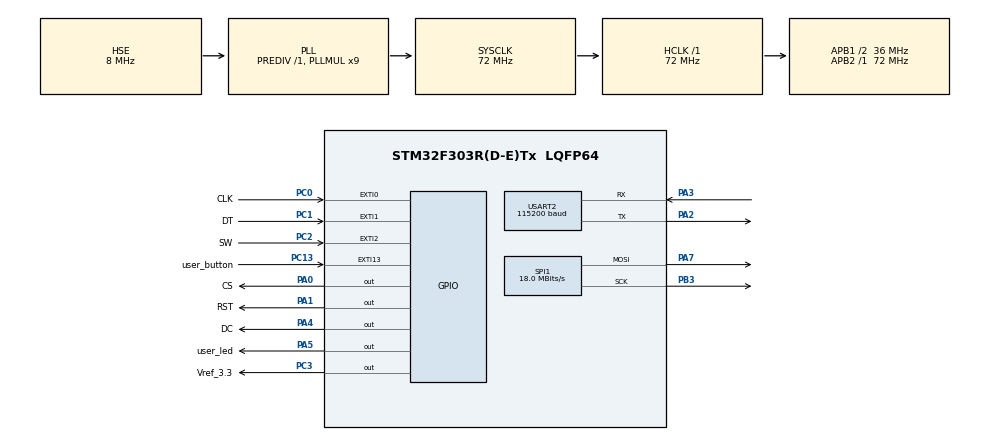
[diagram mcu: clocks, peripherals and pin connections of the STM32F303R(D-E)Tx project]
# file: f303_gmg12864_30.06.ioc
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Mcu.Family=STM32F3
Mcu.Name=STM32F303R(D-E)Tx
Mcu.Package=LQFP64
NVIC.EXTI0_IRQn=true\:0\:0\:false\:false\:true\:true\:true
NVIC.EXTI15_10_IRQn=true\:0\:0\:false\:false\:true\:true\:true
NVIC.EXTI1_IRQn=true\:0\:0\:false\:false\:true\:true\:true
NVIC.EXTI2_TSC_IRQn=true\:0\:0\:false\:false\:true\:true\:true
NVIC.PriorityGroup=NVIC_PRIORITYGROUP_4
NVIC.TIM4_IRQn=true\:0\:0\:false\:false\:true\:true\:true
NVIC.USART2_IRQn=true\:0\:0\:false\:false\:true\:true\:true
PA0.GPIO_Label=CS
PA0.Signal=GPIO_Output
PA1.GPIO_Label=RST
PA1.Signal=GPIO_Output
PA13.Mode=Serial_Wire
PA13.Signal=SYS_JTMS-SWDIO
PA14.Mode=Serial_Wire
PA14.Signal=SYS_JTCK-SWCLK
PA2.Mode=Asynchronous
PA2.Signal=USART2_TX
PA3.Mode=Asynchronous
PA3.Signal=USART2_RX
PA4.GPIO_Label=DC
PA4.Signal=GPIO_Output
PA5.GPIO_Label=user_led
PA5.Signal=GPIO_Output
PA7.Mode=TX_Only_Simplex_Unidirect_Master
PA7.Signal=SPI1_MOSI
PB3.Mode=TX_Only_Simplex_Unidirect_Master
PB3.Signal=SPI1_SCK
PC0.GPIO_Label=CLK
PC0.GPIO_ModeDefaultEXTI=GPIO_MODE_IT_RISING_FALLING
PC0.Signal=GPXTI0
PC1.GPIO_Label=DT
PC1.GPIO_ModeDefaultEXTI=GPIO_MODE_IT_RISING_FALLING
PC1.Signal=GPXTI1
PC13.GPIO_Label=user_button
PC13.Signal=GPXTI13
PC2.GPIO_Label=SW
PC2.GPIO_ModeDefaultEXTI=GPIO_MODE_IT_FALLING
PC2.GPIO_PuPd=GPIO_PULLUP
PC2.Signal=GPXTI2
PC3.GPIO_Label=Vref_3.3
PC3.Signal=GPIO_Output
PF0-OSC_IN.Mode=HSE-External-Oscillator
PF0-OSC_IN.Signal=RCC_OSC_IN
PF1-OSC_OUT.Mode=HSE-External-Oscillator
PF1-OSC_OUT.Signal=RCC_OSC_OUT
ProjectManager.HeapSize=0x200
ProjectManager.StackSize=0x400
ProjectManager.TargetToolchain=STM32CubeIDE
RCC.AHBFreq_Value=72000000
RCC.APB1CLKDivider=RCC_HCLK_DIV2
RCC.APB1Freq_Value=36000000
RCC.APB1TimFreq_Value=72000000
RCC.APB2Freq_Value=72000000
RCC.APB2TimFreq_Value=72000000
RCC.CortexFreq_Value=72000000
RCC.HCLKFreq_Value=72000000
RCC.HSE_VALUE=8000000
RCC.HSI_VALUE=8000000
RCC.LSE_VALUE=32768
RCC.PLLMUL=RCC_PLL_MUL9
RCC.PLLSourceVirtual=RCC_PLLSOURCE_HSE
RCC.SYSCLKFreq_VALUE=72000000
RCC.SYSCLKSourceVirtual=RCC_SYSCLKSOURCE_PLLCLK
RCC.USBFreq_Value=72000000
SPI1.BaudRatePrescaler=SPI_BAUDRATEPRESCALER_4
SPI1.CalculateBaudRate=18.0 MBits/s
SPI1.DataSize=SPI_DATASIZE_8BIT
SPI1.Direction=SPI_DIRECTION_2LINES
SPI1.Mode=SPI_MODE_MASTER
SPI1.VirtualType=VM_MASTER
TIM4.Period=1000
TIM4.Prescaler=7200 - 1
USART2.BaudRate=115200
USART2.VirtualMode-Asynchronous=VM_ASYNC
VP_TIM4_VS_ClockSourceINT.Mode=Internal
board=custom

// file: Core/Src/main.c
/* USER CODE BEGIN Header */
/**
  ******************************************************************************
  * @file           : main.c
  * @brief          : Main program body
  ******************************************************************************
  * @attention
  *
  * <h2><center>&copy; Copyright (c) 2022 STMicroelectronics.
  * All rights reserved.</center></h2>
  *
  * This software component is licensed by ST under BSD 3-Clause license,
  * the "License"; You may not use this file except in compliance with the
  * License. You may obtain a copy of the License at:
  *                        opensource.org/licenses/BSD-3-Clause
  *
  ******************************************************************************
  */
/* USER CODE END Header */
#include "main.h"
#include "spi.h"
#include "tim.h"
#include "usart.h"
#include "gpio.h"

/* USER CODE BEGIN Includes */
#include <stdbool.h>
#include <stdio.h>
#include "GMG12864_lib.h"
/* USER CODE END Includes */

/* USER CODE BEGIN PD */
#define rx_uart_buffer_size 30
/* USER CODE END PD */

/* USER CODE BEGIN PV */
uint8_t rx_uart_buffer[rx_uart_buffer_size] = {0, };
uint16_t rx_uart_buffer_len = 0;
bool rx_uart_buffer_ready = 0;
extern char tx_buffer[128];
extern uint8_t Frame_buffer[1024];
uint8_t counter = 0;
bool flag_led = 0;
uint8_t status, status_old;
uint8_t number_str = 0;
bool stage_menu = 0;
bool update_display = 1;
unsigned long t_led = 0;
uint8_t tim4_counter = 0;
bool tim4_flag = 0;
/* USER CODE END PV */

void SystemClock_Config(void);
/* USER CODE BEGIN PFP */
void print_first_line(void);
void print_second_line(void);
void print_third_line(void);
void print_fourth_line(void);
void print_fifth_line(void);
void print_sixth_line(void);
void pointer_write(void);
void upd_disp(void);
/* USER CODE END PFP */

int main(void)
{

  /* MCU Configuration--------------------------------------------------------*/

  /* Reset of all peripherals, Initializes the Flash interface and the Systick. */
  HAL_Init();

  /* Configure the system clock */
  SystemClock_Config();

  /* Initialize all configured peripherals */
  MX_GPIO_Init();
  MX_SPI1_Init();
  MX_USART2_UART_Init();
  MX_TIM4_Init();
  /* USER CODE BEGIN 2 */
  HAL_Delay(100);
  __HAL_UART_ENABLE_IT(&huart2, UART_IT_IDLE);
  HAL_UART_Receive_IT(&huart2, rx_uart_buffer, rx_uart_buffer_size);
  HAL_TIM_Base_Start_IT(&htim4);
  t_led = HAL_GetTick();
  GMG12864_Init();
  GPIOC -> BSRR = GPIO_PIN_3;
  sprintf(tx_buffer, "Hello world");
  GMG12864_Decode_UTF8(0, 0, 1, 0, tx_buffer);
  GMG12864_Update();
  GMG12864_Clean_Frame_buffer();
  /* USER CODE END 2 */

  /* Infinite loop */
  /* USER CODE BEGIN WHILE */
  while (1)
  {
	  if(rx_uart_buffer_ready)
	  {
		  char tx_uart_buffer[] = "Interrupt!\r\n";
		  HAL_UART_Transmit_IT(&huart2, tx_uart_buffer, (sizeof(tx_uart_buffer) / sizeof(tx_uart_buffer[0])));
		  rx_uart_buffer_ready = 0;
	  }
	  if(stage_menu == 0)
	  {
		  upd_disp();
		  print_first_line();
		  print_second_line();
		  print_third_line();
		  print_fourth_line();
		  print_fifth_line();
		  print_sixth_line();
		  pointer_write();
	  }
	  else if(stage_menu)
	  {
		  switch(number_str)
		  {
		  case 0:
				GMG12864_Clean_Frame_buffer();
				if (!flag_led)
				{
					sprintf(tx_buffer, "User led is on");
					GMG12864_Decode_UTF8(0, 0, 1, 0, tx_buffer);
					GMG12864_Update();
				}
				else
				{
					sprintf(tx_buffer, "User led is off");
					GMG12864_Decode_UTF8(0, 0, 1, 0, tx_buffer);
					GMG12864_Update();
				}
				break;
		  case 10:
				if(tim4_flag == 0)
				{
					GMG12864_Clean_Frame_buffer();
					sprintf(tx_buffer, "tim4_counter is %d", tim4_counter);
					GMG12864_Decode_UTF8(0, 0, 1, 0, tx_buffer);
					GMG12864_Update();
				}
				if(tim4_counter >= 252)
				{
					tim4_flag = 1;
					GMG12864_Clean_Frame_buffer();
					sprintf(tx_buffer, "Ok!");
					GMG12864_Decode_UTF8(0, 0, 1, 0, tx_buffer);
					GMG12864_Update();
				}
				break;
		  case 20:
				GMG12864_Clean_Frame_buffer();
				sprintf(tx_buffer, "UART speed %d", (huart2.Init.BaudRate));
				GMG12864_Decode_UTF8(0, 0, 1, 0, tx_buffer);
				GMG12864_Update();
				break;
		  case 30:
				GMG12864_Clean_Frame_buffer();
				sprintf(tx_buffer, "Parameters fourth str");
				GMG12864_Decode_UTF8(0, 0, 1, 0, tx_buffer);
				GMG12864_Update();
				break;
		  case 40:
				GMG12864_Clean_Frame_buffer();
				sprintf(tx_buffer, "Parameters fifht str");
				GMG12864_Decode_UTF8(0, 0, 1, 0, tx_buffer);
				GMG12864_Update();
				break;
		  case 50:
				GMG12864_Clean_Frame_buffer();
				sprintf(tx_buffer, "Parameters sixth str");
				GMG12864_Decode_UTF8(0, 0, 1, 0, tx_buffer);
				GMG12864_Update();
				break;
		  }
	  }
	  /*if(!flag_led)
	  {
		  GPIOA -> BSRR = user_led_Pin;
	  }
	  else
	  {
		  GPIOA -> BSRR = (uint32_t)user_led_Pin << 16;
	  }*/
	  if(HAL_GetTick() - t_led > 1000)
	  {
		  t_led = HAL_GetTick();
		  flag_led = !flag_led;
		  if(!flag_led)
		  {
			  GPIOA -> BSRR = user_led_Pin;
		  }
		  else
		  {
			  GPIOA -> BSRR = (uint32_t)user_led_Pin << 16;
		  }
	  }

    /* USER CODE END WHILE */

  }
}

void SystemClock_Config(void)
{
  RCC_OscInitTypeDef RCC_OscInitStruct = {0};
  RCC_ClkInitTypeDef RCC_ClkInitStruct = {0};
  RCC_PeriphCLKInitTypeDef PeriphClkInit = {0};

  /** Initializes the RCC Oscillators according to the specified parameters
  * in the RCC_OscInitTypeDef structure.
  */
  RCC_OscInitStruct.OscillatorType = RCC_OSCILLATORTYPE_HSE;
  RCC_OscInitStruct.HSEState = RCC_HSE_ON;
  RCC_OscInitStruct.HSIState = RCC_HSI_ON;
  RCC_OscInitStruct.PLL.PLLState = RCC_PLL_ON;
  RCC_OscInitStruct.PLL.PLLSource = RCC_PLLSOURCE_HSE;
  RCC_OscInitStruct.PLL.PLLMUL = RCC_PLL_MUL9;
  RCC_OscInitStruct.PLL.PREDIV = RCC_PREDIV_DIV1;
  if (HAL_RCC_OscConfig(&RCC_OscInitStruct) != HAL_OK)
  {
    Error_Handler();
  }
  /** Initializes the CPU, AHB and APB buses clocks
  */
  RCC_ClkInitStruct.ClockType = RCC_CLOCKTYPE_HCLK|RCC_CLOCKTYPE_SYSCLK
                              |RCC_CLOCKTYPE_PCLK1|RCC_CLOCKTYPE_PCLK2;
  RCC_ClkInitStruct.SYSCLKSource = RCC_SYSCLKSOURCE_PLLCLK;
  RCC_ClkInitStruct.AHBCLKDivider = RCC_SYSCLK_DIV1;
  RCC_ClkInitStruct.APB1CLKDivider = RCC_HCLK_DIV2;
  RCC_ClkInitStruct.APB2CLKDivider = RCC_HCLK_DIV1;

  if (HAL_RCC_ClockConfig(&RCC_ClkInitStruct, FLASH_LATENCY_2) != HAL_OK)
  {
    Error_Handler();
  }
  PeriphClkInit.PeriphClockSelection = RCC_PERIPHCLK_USART2|RCC_PERIPHCLK_TIM34;
  PeriphClkInit.Usart2ClockSelection = RCC_USART2CLKSOURCE_PCLK1;
  PeriphClkInit.Tim34ClockSelection = RCC_TIM34CLK_HCLK;
  if (HAL_RCCEx_PeriphCLKConfig(&PeriphClkInit) != HAL_OK)
  {
    Error_Handler();
  }
}

/* USER CODE BEGIN 4 */
void HAL_GPIO_EXTI_Callback(uint16_t GPIO_Pin)
{
	if(GPIO_Pin == GPIO_PIN_0)
	{
		if (!(GPIOC->IDR & GPIO_PIN_0) && !(GPIOC->IDR & GPIO_PIN_1)) {
			status = 0x00;
		} else if ((GPIOC->IDR & GPIO_PIN_0) && !(GPIOC->IDR & GPIO_PIN_1)) {
			status = 0x10;
		} else if (!(GPIOC->IDR & GPIO_PIN_0) && (GPIOC->IDR & GPIO_PIN_1)) {
			status = 0x01;
		} else if ((GPIOC->IDR & GPIO_PIN_0) && (GPIOC->IDR & GPIO_PIN_1)) {
			status = 0x11;
		}
		if ((status_old == 0x10) && (status == 0x11)) {
			counter += 1;
			if (number_str < 50) {
				number_str += 10;
				GMG12864_Clean_Frame_buffer();
			} else {
				number_str = 50;
			}
		} else if ((status_old == 0x01) && (status == 0x00)) {
			counter += 1;
			if (number_str < 50) {
				number_str += 10;
				GMG12864_Clean_Frame_buffer();
			} else {
				number_str = 50;
			}
		}
		if (status_old == 0x11 && status == 0x10) {
			status_old = 0x10;

		} else if (status_old == 0x00 && status == 0x01) {
			status_old = 0x01;
		} else if (status_old == 0x10 && status == 0x00) {
			counter -= 1;
			if (number_str > 0) {
				number_str -= 10;
				GMG12864_Clean_Frame_buffer();
			} else {
				number_str = 0;
			}
		} else if (status_old == 0x01 && status == 0x11) {
			counter -= 1;
			if (number_str > 0) {
				number_str -= 10;
				GMG12864_Clean_Frame_buffer();
			} else {
				number_str = 0;
			}
		}
		status_old = status;
	}
	if(GPIO_Pin == GPIO_PIN_1)
	{
		if (!(GPIOC->IDR & GPIO_PIN_0) && !(GPIOC->IDR & GPIO_PIN_1)) {
			status = 0x00;
		} else if ((GPIOC->IDR & GPIO_PIN_0) && !(GPIOC->IDR & GPIO_PIN_1)) {
			status = 0x10;
		} else if (!(GPIOC->IDR & GPIO_PIN_0) && (GPIOC->IDR & GPIO_PIN_1)) {
			status = 0x01;
		} else if ((GPIOC->IDR & GPIO_PIN_0) && (GPIOC->IDR & GPIO_PIN_1)) {
			status = 0x11;
		}
		if ((status_old == 0x10) && (status == 0x11)) {
			counter += 1;
			if (number_str < 50) {
				number_str += 10;
				GMG12864_Clean_Frame_buffer();
			} else {
				number_str = 50;
			}
		} else if ((status_old == 0x01) && (status == 0x00)) {
			counter += 1;
			if (number_str < 50) {
				number_str += 10;
				GMG12864_Clean_Frame_buffer();
			} else {
				number_str = 50;
			}
		}
		if (status_old == 0x11 && status == 0x10) {
			status_old = 0x10;

		} else if (status_old == 0x00 && status == 0x01) {
			status_old = 0x01;
		} else if (status_old == 0x10 && status == 0x00) {
			counter -= 1;
			if (number_str > 0) {
				number_str -= 10;
				GMG12864_Clean_Frame_buffer();
			} else {
				number_str = 0;
			}
		} else if (status_old == 0x01 && status == 0x11) {
			counter -= 1;
			if (number_str > 0) {
				number_str -= 10;
				GMG12864_Clean_Frame_buffer();
			} else {
				number_str = 0;
			}
		}
		status_old = status;

	}
	if(GPIO_Pin == GPIO_PIN_2)
	{
		flag_led = !flag_led;
		stage_menu = !stage_menu;
		update_display = 1;
		tim4_flag = 0;
	}
}

void print_first_line()
{
	sprintf(tx_buffer, "User led param.");
	GMG12864_Decode_UTF8(15, 0, 1, 0, tx_buffer);
	GMG12864_Update();
}

void print_second_line()
{
	sprintf(tx_buffer, "TIM_4 param");
	GMG12864_Decode_UTF8(15, 10, 1, 0, tx_buffer);
	GMG12864_Update();
}

void print_third_line()
{
	sprintf(tx_buffer, "Uart param");
	GMG12864_Decode_UTF8(15, 20, 1, 0, tx_buffer);
	GMG12864_Update();
}

void print_fourth_line()
{
	sprintf(tx_buffer, "Fourth line");
	GMG12864_Decode_UTF8(15, 30, 1, 0, tx_buffer);
	GMG12864_Update();
}

void print_fifth_line()
{
	sprintf(tx_buffer, "Fifth line");
	GMG12864_Decode_UTF8(15, 40, 1, 0, tx_buffer);
	GMG12864_Update();
}

void print_sixth_line()
{
	sprintf(tx_buffer, "Sixth line");
	GMG12864_Decode_UTF8(15, 50, 1, 0, tx_buffer);
	GMG12864_Update();
}

void pointer_write()
{
	sprintf(tx_buffer, "->");
	GMG12864_Decode_UTF8(0, number_str, 1, 0, tx_buffer);
	GMG12864_Update();
}

void upd_disp()
{
	if(update_display)
	{
		GMG12864_Clean_Frame_buffer();
		update_display = 0;
	}
}

void HAL_UART_IDLE_Callback(UART_HandleTypeDef *huart)
{
	if(huart == &huart2)
	{
		__HAL_UART_DISABLE_IT(&huart2, UART_IT_IDLE);
		rx_uart_buffer_len = rx_uart_buffer_size - huart->RxXferCount;
		HAL_UART_AbortReceive_IT(&huart2);
		__HAL_UART_CLEAR_IDLEFLAG(&huart2);
		__HAL_UART_ENABLE_IT(&huart2, UART_IT_IDLE);
		HAL_UART_Receive_IT(&huart2, rx_uart_buffer, rx_uart_buffer_size);
		rx_uart_buffer_ready = 1;
	}
}
/* USER CODE END 4 */

void Error_Handler(void)
{
  __disable_irq();
  while (1)
  {
  }
}

/************************ (C) COPYRIGHT STMicroelectronics *****END OF FILE****/
